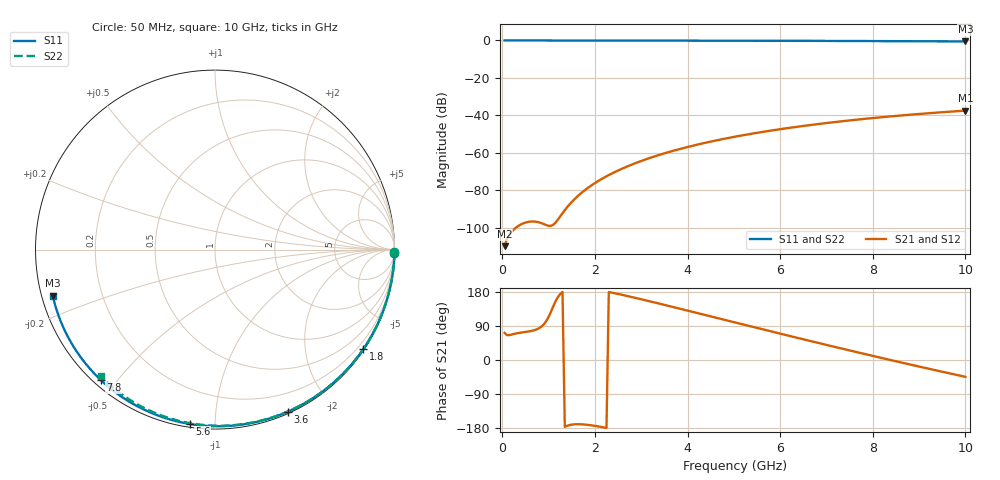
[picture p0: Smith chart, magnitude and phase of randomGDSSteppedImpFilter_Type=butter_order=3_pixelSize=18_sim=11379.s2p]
! freq	dB(S11)	phase(S11)	dB(S12)	phase(S12)
!  dB(S21)	phase(S21)	dB(S22)	phase(S22)
!S-par simulation data
#  GHz  S  DB  R 50
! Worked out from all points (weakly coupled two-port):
!   200 points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, 50 MHz to 10 GHz, reference 50 ohm
!   highest |S21| = -37.46 dB at 10 GHz (marker M1); lowest = -109.8 dB at 50 MHz (marker M2)
!   lowest |S11| = -0.5 dB at 10 GHz (marker M3), VSWR 32.24, Z = 1.58 - j6.95 ohm
!   |S11| at or under -10 dB: nowhere
!   |S22| runs from -0.4 to 0.0 dB; largest |S21 - S12| = 0
!   S11 on the Smith chart (normalised r, x): 50 MHz: open; 1.8 GHz: 0.03, -3.28; 3.6 GHz: 0.02, -1.55; 5.6 GHz: 0.02, -0.86; 7.8 GHz: 0.02, -0.45; 10 GHz: 0.03, -0.14
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0.05  -0.00 -1.0  -109.82 71.6  -109.82 71.6  -0.00 -0.8
0.45  -0.01 -8.6  -97.66 73.1  -97.66 73.1  -0.01 -6.9
0.85  -0.02 -16.2  -97.58 88.7  -97.58 88.7  -0.02 -12.9
1.3  -0.03 -24.6  -92.22 179.6  -92.22 179.6  -0.02 -19.6
1.75  -0.04 -32.9  -80.55 -170.0  -80.55 -170.0  -0.03 -26.3
1.8  -0.04 -33.9  -79.59 -170.6  -79.59 -170.6  -0.03 -27.1
2.1  -0.05 -39.3  -74.61 -175.9  -74.61 -175.9  -0.04 -31.5
2.3  -0.05 -43.0  -71.86 179.5  -71.86 179.5  -0.04 -34.4
2.5  -0.06 -46.5  -69.42 174.3  -69.42 174.3  -0.05 -37.3
2.9  -0.07 -53.6  -65.26 163.2  -65.26 163.2  -0.06 -43.0
3.4  -0.08 -62.3  -61.02 148.5  -61.02 148.5  -0.07 -50.1
3.6  -0.09 -65.8  -59.54 142.5  -59.54 142.5  -0.07 -52.9
4.3  -0.11 -77.5  -55.10 121.2  -55.10 121.2  -0.09 -62.5
5.05  -0.14 -89.6  -51.27 98.3  -51.27 98.3  -0.11 -72.5
5.6  -0.16 -98.3  -48.90 81.6  -48.90 81.6  -0.13 -79.7
6.15  -0.19 -106.8  -46.83 65.0  -46.83 65.0  -0.15 -86.6
6.7  -0.22 -115.1  -45.00 48.7  -45.00 48.7  -0.18 -93.5
7.25  -0.26 -123.2  -43.37 32.5  -43.37 32.5  -0.21 -100.1
7.8  -0.30 -131.3  -41.92 16.5  -41.92 16.5  -0.25 -106.7
8.35  -0.35 -139.4  -40.62 0.8  -40.62 0.8  -0.29 -113.1
9.2  -0.44 -152.0  -38.86 -22.8  -38.86 -22.8  -0.36 -122.9
10  -0.54 -164.2  -37.46 -44.4  -37.46 -44.4  -0.45 -132.0
